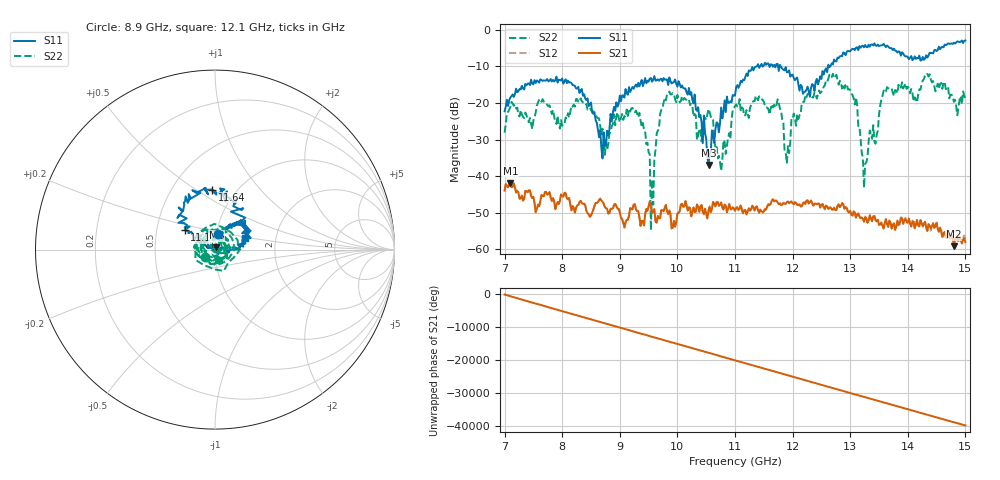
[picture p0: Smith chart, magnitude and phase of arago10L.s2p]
!Keysight Technologies,N5242B,MY47200105,A.14.00.23
!Date: Friday, April 26, 2024 11:29:15
!Correction: S11(C  2-Port  )
!S21(C  2-Port  )
!S12(C  2-Port  )
!S22(C  2-Port  )
!S2P File: Measurement: :
# Hz S  RI  R 50
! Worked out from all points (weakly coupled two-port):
!   401 points, 7 GHz to 15 GHz, reference 50 ohm
!   highest |S21| = -41.83 dB at 7.1 GHz (marker M1); lowest = -59.1 dB at 14.8 GHz (marker M2)
!   lowest |S11| = -36.9 dB at 10.54 GHz (marker M3), VSWR 1.03, Z = 50.7 + j1.23 ohm
!   |S11| at or under -10 dB: start of sweep to 11.38 GHz; 11.41187 GHz to 11.43433 GHz (22.46 MHz wide, 0.197 % of centre); 11.8 GHz to 12.62 GHz (818.9 MHz wide, 6.71 % of centre) (the widest 3 of 9)
!   |S22| runs from -54.8 to -12.0 dB; largest |S21 - S12| = 0.00017
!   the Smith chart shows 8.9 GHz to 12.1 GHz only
!   S11 on the Smith chart (normalised r, x): 8.9 GHz: 1.02, +0.18; 11.1 GHz: 0.70, +0.16; 11.64 GHz: 0.77, +0.58; 12.1 GHz: 1.39, +0.19
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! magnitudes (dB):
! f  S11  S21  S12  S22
! 7 GHz  -22.3  -44.0  -44.0  -28.1
! 7.1 GHz  -18.5  -41.8  -41.8  -21.1
! 8.34 GHz  -16.2  -47.3  -47.3  -19.5
! 8.72 GHz  -28.0  -47.5  -47.6  -29.3
! 8.9 GHz  -21.1  -47.9  -47.8  -23.2
! 9.32 GHz  -14.5  -49.5  -49.4  -23.9
! 9.56 GHz  -14.2  -50.1  -50.2  -40.9
! 9.68 GHz  -13.9  -51.5  -51.6  -27.2
! 10.26 GHz  -19.2  -49.9  -49.9  -20.8
! 10.54 GHz  -36.9  -49.4  -49.4  -21.6
! 10.74 GHz  -25.5  -47.8  -47.7  -36.2
! 11 GHz  -18.0  -49.4  -49.5  -20.8
! 11.1 GHz  -14.0  -48.0  -47.8  -22.3
! 11.64 GHz  -9.5  -46.6  -46.7  -20.3
! 11.9 GHz  -11.6  -47.1  -47.1  -36.5
! 12.1 GHz  -14.9  -47.9  -47.9  -24.4
! 12.34 GHz  -14.8  -47.4  -47.5  -18.4
! 12.96 GHz  -5.7  -49.7  -49.7  -16.3
! 13.26 GHz  -4.1  -51.2  -51.0  -36.6
! 13.68 GHz  -4.9  -52.2  -52.0  -16.2
! 14.8 GHz  -3.5  -59.1  -58.3  -19.7
! 15 GHz  -2.9  -58.0  -57.9  -18.9
